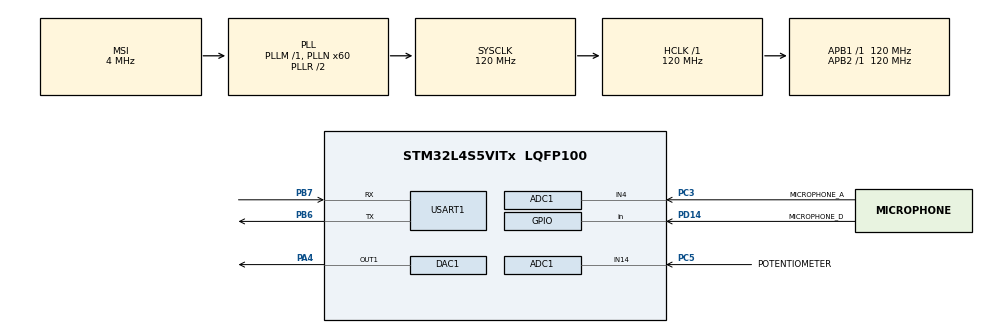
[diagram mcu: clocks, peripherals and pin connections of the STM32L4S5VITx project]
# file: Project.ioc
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ADC1.Channel-1\#ChannelRegularConversion=ADC_CHANNEL_4
ADC1.DMAContinuousRequests=ENABLE
ADC1.ExternalTrigConv=ADC_EXTERNALTRIG_T2_TRGO
ADC1.NbrOfConversionFlag=1
ADC1.OffsetNumber-1\#ChannelRegularConversion=ADC_OFFSET_NONE
ADC1.Rank-1\#ChannelRegularConversion=1
ADC1.SamplingTime-1\#ChannelRegularConversion=ADC_SAMPLETIME_2CYCLES_5
ADC1.master=1
DAC1.DAC_Trigger-DAC_OUT1=DAC_TRIGGER_T2_TRGO
Dma.ADC1.0.Direction=DMA_PERIPH_TO_MEMORY
Dma.ADC1.0.EventEnable=DISABLE
Dma.ADC1.0.Instance=DMA1_Channel1
Dma.ADC1.0.MemDataAlignment=DMA_MDATAALIGN_WORD
Dma.ADC1.0.MemInc=DMA_MINC_ENABLE
Dma.ADC1.0.Mode=DMA_CIRCULAR
Dma.ADC1.0.PeriphDataAlignment=DMA_PDATAALIGN_WORD
Dma.ADC1.0.PeriphInc=DMA_PINC_DISABLE
Dma.ADC1.0.Polarity=HAL_DMAMUX_REQUEST_GEN_RISING
Dma.ADC1.0.Priority=DMA_PRIORITY_LOW
Dma.ADC1.0.RequestNumber=1
Dma.ADC1.0.SignalID=NONE
Dma.ADC1.0.SyncEnable=DISABLE
Dma.ADC1.0.SyncPolarity=HAL_DMAMUX_SYNC_NO_EVENT
Dma.ADC1.0.SyncRequestNumber=1
Dma.ADC1.0.SyncSignalID=NONE
Dma.DAC1_CH1.1.Direction=DMA_MEMORY_TO_PERIPH
Dma.DAC1_CH1.1.EventEnable=DISABLE
Dma.DAC1_CH1.1.Instance=DMA1_Channel3
Dma.DAC1_CH1.1.MemDataAlignment=DMA_MDATAALIGN_WORD
Dma.DAC1_CH1.1.MemInc=DMA_MINC_ENABLE
Dma.DAC1_CH1.1.Mode=DMA_CIRCULAR
Dma.DAC1_CH1.1.PeriphDataAlignment=DMA_PDATAALIGN_WORD
Dma.DAC1_CH1.1.PeriphInc=DMA_PINC_DISABLE
Dma.DAC1_CH1.1.Polarity=HAL_DMAMUX_REQUEST_GEN_RISING
Dma.DAC1_CH1.1.Priority=DMA_PRIORITY_LOW
Dma.DAC1_CH1.1.RequestNumber=1
Dma.DAC1_CH1.1.SignalID=NONE
Dma.DAC1_CH1.1.SyncEnable=DISABLE
Dma.DAC1_CH1.1.SyncPolarity=HAL_DMAMUX_SYNC_NO_EVENT
Dma.DAC1_CH1.1.SyncRequestNumber=1
Dma.DAC1_CH1.1.SyncSignalID=NONE
Dma.Request0=ADC1
Dma.Request1=DAC1_CH1
FREERTOS.Mutexes01=microphonePermissions,Dynamic,NULL
FREERTOS.Tasks01=uart,0,300,startUART,Default,NULL,Dynamic,NULL,NULL;speaker,-3,4000,startSpeaker,Default,NULL,Dynamic,NULL,NULL;checkCycleCompl,-3,4000,checkCycleComplete,Default,NULL,Dynamic,NULL,NULL
FREERTOS.configTOTAL_HEAP_SIZE=100000
Mcu.Family=STM32L4
Mcu.Name=STM32L4S5VITx
Mcu.Package=LQFP100
NVIC.ADC1_IRQn=true\:5\:0\:false\:true\:true\:3\:true\:true\:true
NVIC.DMA1_Channel1_IRQn=true\:5\:0\:false\:true\:true\:2\:true\:false\:true
NVIC.DMA1_Channel3_IRQn=true\:5\:0\:false\:true\:true\:5\:true\:false\:true
NVIC.PriorityGroup=NVIC_PRIORITYGROUP_4
NVIC.TIM2_IRQn=true\:5\:0\:false\:true\:true\:4\:true\:true\:true
NVIC.TIM3_IRQn=true\:5\:0\:false\:true\:true\:6\:true\:true\:true
NVIC.TIM6_DAC_IRQn=true\:0\:0\:false\:false\:true\:false\:true\:true
NVIC.TimeBase=TIM6_DAC_IRQn
NVIC.TimeBaseIP=TIM6
PA13\ (JTMS/SWDIO).Signal=SYS_JTMS-SWDIO
PA4.Signal=COMP_DAC11_group
PB3\ (JTDO/TRACESWO).Signal=SYS_JTDO-SWO
PB6.Mode=Asynchronous
PB6.Signal=USART1_TX
PB7.Mode=Asynchronous
PB7.Signal=USART1_RX
PC3.GPIO_Label=MICROPHONE_A
PC3.Signal=SharedAnalog_PC3
PC5.GPIO_Label=POTENTIOMETER
PC5.GPIO_Mode=GPIO_MODE_ANALOG
PC5.Signal=SharedAnalog_PC5
PD14.GPIO_Label=MICROPHONE_D
PD14.Signal=GPIO_Input
ProjectManager.HeapSize=0x200
ProjectManager.StackSize=0x400
ProjectManager.TargetToolchain=STM32CubeIDE
RCC.ADCFreq_Value=48000000
RCC.AHBFreq_Value=120000000
RCC.APB1Freq_Value=120000000
RCC.APB1TimFreq_Value=120000000
RCC.APB2Freq_Value=120000000
RCC.APB2TimFreq_Value=120000000
RCC.CortexFreq_Value=120000000
RCC.HCLKFreq_Value=120000000
RCC.HSE_VALUE=8000000
RCC.HSI48_VALUE=48000000
RCC.HSI_VALUE=16000000
RCC.LSE_VALUE=32768
RCC.MSI_VALUE=4000000
RCC.PLLN=60
RCC.PLLSAI1N=24
RCC.SYSCLKFreq_VALUE=120000000
RCC.SYSCLKSource=RCC_SYSCLKSOURCE_PLLCLK
RCC.USBFreq_Value=48000000
RCC.VCOOutputFreq_Value=240000000
SH.COMP_DAC11_group.0=DAC1_OUT1,DAC_OUT1
SH.SharedAnalog_PC3.0=GPIO_Analog
SH.SharedAnalog_PC3.1=ADC1_IN4,IN4-Single-Ended
SH.SharedAnalog_PC5.0=GPIO_Analog
SH.SharedAnalog_PC5.1=ADC1_IN14,IN14-Single-Ended
TIM2.Period=15000
TIM2.TIM_MasterOutputTrigger=TIM_TRGO_UPDATE
TIM3.Period=10000
TIM3.Prescaler=6000
TIM3.TIM_MasterOutputTrigger=TIM_TRGO_UPDATE
USART1.VirtualMode-Asynchronous=VM_ASYNC
VP_FREERTOS_VS_CMSIS_V1.Mode=CMSIS_V1
VP_SYS_VS_tim6.Mode=TIM6
VP_TIM2_VS_ClockSourceINT.Mode=Internal
VP_TIM3_VS_ClockSourceINT.Mode=Internal
board=B-L4S5I-IOT01A

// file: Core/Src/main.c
/* USER CODE BEGIN Header */
/**
 ******************************************************************************
 * @file           : main.c
 * @brief          : Main program body
 ******************************************************************************
 * @attention
 *
 * <h2><center>&copy; Copyright (c) 2021 STMicroelectronics.
 * All rights reserved.</center></h2>
 *
 * This software component is licensed by ST under BSD 3-Clause license,
 * the "License"; You may not use this file except in compliance with the
 * License. You may obtain a copy of the License at:
 *                        opensource.org/licenses/BSD-3-Clause
 *
 ******************************************************************************
 */
/* USER CODE END Header */
#include "main.h"
#include "cmsis_os.h"

/* USER CODE BEGIN PD */
//########################################################################################################################
//Includes and Defines   #################################################################################################
//########################################################################################################################

#define ITM_Port32(n) (*((volatile unsigned long *) (0xE0000000+4*n)))
#define ARM_MATH_CM4
#define ARM_MATH_CM0
#define pi 3.14159265358979323846
#define ASCII_ESC 27 //For special UART characters

#include "arm_math.h"
#include "arm_const_structs.h"
#include "stdlib.h" //For random number generator

//########################################################################################################################
//########################################################################################################################
//########################################################################################################################
/* USER CODE END PD */

ADC_HandleTypeDef hadc1;
DMA_HandleTypeDef hdma_adc1;

DAC_HandleTypeDef hdac1;
DMA_HandleTypeDef hdma_dac1_ch1;

TIM_HandleTypeDef htim2;
TIM_HandleTypeDef htim3;

UART_HandleTypeDef huart1;

osThreadId uartHandle;
osThreadId speakerHandle;
osThreadId checkCycleComplHandle;
osMutexId microphonePermissionsHandle;
/* USER CODE BEGIN PV */
//########################################################################################################################
//Global Variables   #####################################################################################################
//########################################################################################################################

//For Microphone
#define micArraySize 4096
uint32_t micVal = 0;				//Used for viewing raw microphone readings through SWV Trace
uint32_t micArrayIn[micArraySize];	//Buffer that holds the microphone raw data
uint32_t micArrayOut[micArraySize];	//Used for storing the amplified signal of the microphone raw data (sending recording thru DAC Speaker)
uint16_t counter = 0;				//Counter for viewing the raw microphone data in a single variable (micVal) (debugging)
int calibrationVal = 0;				//Saves the DC Offset of the first few microphone readings in this value
int isFirstHalfCycleComplete = 0; 	//Flag for completion of the first half cycle of DMA microphone data recording
int isSecondHalfCycleComplete = 0;	//Flag for second half cycle

//For getFrequency function
int measuredFreq; //USELESS
#define samplingRate 8000					//Chosen sampling rate for the microphone signal - also affects the FFT calculation
#define fftSize 2048						//FFT works with sizes of 2^ -> we like 2048 as a good size -> measures one HALF of the micArrayIn at a time
float fft_in_buf[fftSize];					//FFT input buffer -> sound signal goes into here (do we need this, or could we just send our original through the function?)
float fft_out_buf[fftSize];					//FFT output buffer -> the FFT places its output into this buffer (real, imag)
arm_rfft_fast_instance_f32 fft_handler;		//For initializing the FFT

//For UART
char screen[259];							//Screen to display via UART -> whole thing gets transmitted
char title[70];								//Welcome screen -> will be embedded into screen array above when the time comes
char liveToneAndGoal[70];					//Game screen -> will be embedded into screen array above when the time comes
uint8_t receivedKey;						//Stores the keypress from UART "Press any key to continue..."
int potentialPoints = 0;					//Potential points per round -> gets decremented by Timer 3

#define MAX_SCORE 50
int success = 0; 							//This turns to 1 when the voice freq matches the goal freq
int goalToneFreq = 1000;					//Random goal tone -> starts with 1000
int voiceToneFreq;							//Our measure freq
int goalToneFreqUART;						//Changes the range of possible values for sending to the UART
int voiceToneFreqUART;						//Changes the range of possible values for sending to the UART
int score = 0;								//Keeps track of current score of the user

//For DAC and Speaker
int state = 0;								//State machine: 0 = playing sound out of speaker, 1 = listening to microphone for desired pitch, 3 = game over
uint32_t* tone0;							//The 6 tones in the game stored in memory
uint32_t* tone1;
uint32_t* tone2;
uint32_t* tone3;
uint32_t* tone4;
uint32_t* tone5;
uint32_t* goalWave;							//Points to the chosen tone

//########################################################################################################################
//########################################################################################################################
//########################################################################################################################
/* USER CODE END PV */

void SystemClock_Config(void);
static void MX_GPIO_Init(void);
static void MX_DMA_Init(void);
static void MX_ADC1_Init(void);
static void MX_TIM2_Init(void);
static void MX_DAC1_Init(void);
static void MX_TIM3_Init(void);
static void MX_USART1_UART_Init(void);
void startUART(void const * argument);
void startSpeaker(void const * argument);
void checkCycleComplete(void const * argument);

static void MX_NVIC_Init(void);

/* USER CODE BEGIN 0 */
//########################################################################################################################
//Microphone + Pitch Functions   ##########################################################################################
//########################################################################################################################

//Sets the ADC to read microphone
void setMicRead() {
	ADC_ChannelConfTypeDef sConfig = { 0 };
	sConfig.Channel = ADC_CHANNEL_4;
	sConfig.Rank = ADC_REGULAR_RANK_1;
	sConfig.SamplingTime = ADC_SAMPLETIME_2CYCLES_5;
	sConfig.SingleDiff = ADC_SINGLE_ENDED;
	sConfig.OffsetNumber = ADC_OFFSET_NONE;
	sConfig.Offset = 0;
	if (HAL_ADC_ConfigChannel(&hadc1, &sConfig) != HAL_OK) {
		Error_Handler();
	}
}

//Sets the ADC to read the potentiometer
void setPotentiometerRead() {
	ADC_ChannelConfTypeDef sConfig = { 0 };
	sConfig.Channel = ADC_CHANNEL_14;
	sConfig.Rank = ADC_REGULAR_RANK_1;
	sConfig.SamplingTime = ADC_SAMPLETIME_2CYCLES_5;
	sConfig.SingleDiff = ADC_SINGLE_ENDED;
	sConfig.OffsetNumber = ADC_OFFSET_NONE;
	sConfig.Offset = 0;
	if (HAL_ADC_ConfigChannel(&hadc1, &sConfig) != HAL_OK) {
		Error_Handler();
	}
}

//Calibrates the microphone -> measures the initial DC offset of the microphone readings
void readAvgMicrophoneInput() {
	for (int i = 0; i < 100; i++) {
		//Record the first 100 values read by microphone and take the avg
		calibrationVal = calibrationVal + micArrayIn[i];
	}
	calibrationVal = calibrationVal/100;
}

/*
Use this to calculate the frequencies AND return the highest frequency value.Frequencies will always be HALF the size of the the original FFT input anf FFT output buffers.This is because the arm_rfft_fast_f32() method stores 2 coefficients into the output buffer, namely the real and imaginary components of the result. These 2 values are ADJACENT to each other. Output[i] would correspond to the real value and Output[i+1] would correspond to the imaginary. From there, we simply find the magnitude. Notice that the for loop increments by 2 to accomodate for both real and imaginary components. Use noise to normalize frequency values.
*/
int getFrequencyOfTone(arm_rfft_fast_instance_f32* handler, int sampling_rate ,float* buffer_in, float* buffer_out) {

	arm_rfft_fast_f32(handler, buffer_in, buffer_out,0);

	int frequencies[1024];
	int frequency_index = 0;
	int noise = 150; //variable noise offset
	int max = 0;
	int temp_max = 0;
	int frequency = 0;
	//calculate abs values and linear-to-dB
	for (int i=0; i<2048; i=i+2) {

		int real = buffer_out[i];
		int complex = buffer_out[i+1];
		int result = sqrt(real*real+complex*complex);

		frequencies[frequency_index] = (int)(20*log10f(result));
		if (frequencies[frequency_index]<0) frequencies[frequency_index]=0;

		temp_max = frequencies[frequency_index];

		if(frequency_index > 0 && temp_max > max){
			max = temp_max;
			frequency = (int) frequency_index*sampling_rate/2048;
		}
		frequency_index++;
	}
	return frequency;
}

//Sine wave generation function -> returns a pointer to the array stored in mem
//Returns arrays completely ready for sending through DAC to speaker! -> Range is 0-4095
//soundClipSize is the total length of the soundClip that you want to generate (if you want to send to the getFrequency function, use a size of 2048)
//If you want to be able to use the variable soundClipSize, make the for-loop to from 0-soundClipSize, right now the soundClipSize is useless!
uint32_t* sineWaveGenerator(int freq, int soundClipSize) {

	//Sampling rate = 8k
	//Size of array = (sampling rate)/(freq)
	int arraySize = samplingRate/freq;
	uint16_t* sineWave = malloc(arraySize*sizeof(uint16_t));

	for (int i = 0; i < arraySize; i++) {
		sineWave[i] = (uint16_t)((arm_sin_f32(i*2*pi/arraySize) + 1)*(4095/2));
	}

	return sineWave;
}

//########################################################################################################################
//########################################################################################################################
//########################################################################################################################

//########################################################################################################################
//UART Functions   #######################################################################################################
//########################################################################################################################

//Clear screen function
void screenClear() {
	char buffer[5];

	sprintf(buffer, "%c[2J", ASCII_ESC);
	HAL_UART_Transmit(&huart1, &buffer, sizeof(buffer), HAL_MAX_DELAY);
}

//Make cursor invisible
void invisibleCursor() {
	char buffer[6];

	sprintf(buffer, "%c[?25l", ASCII_ESC);
	HAL_UART_Transmit(&huart1, &buffer, sizeof(buffer), HAL_MAX_DELAY);
}

//Print welcome screen
void printWelcomeScreen() {
	sprintf(title, "                         Welcome To Karaoke!                          "); //70 long
	sprintf(screen, "\r//////////////////////////////////////////////////////////////////////////\r\n//%s//\r\n//////////////////////////////////////////////////////////////////////////\r\n\n\nPress any key to continue...", title);
	HAL_UART_Transmit(&huart1, &screen, sizeof(screen), HAL_MAX_DELAY);
}

//Print the game screen
void printGame(int goalToneFreq, int voiceToneFreq, int score) {

	screenClear();

	sprintf(liveToneAndGoal, "                                                                      "); //70 long

	liveToneAndGoal[goalToneFreq] = 'I';
	liveToneAndGoal[voiceToneFreq] = 'I';

	if (score < 100) {
			sprintf(screen, "\r//////////////////////////////////////////////////////////////////////////\r\n//%s//\r\n//////////////////////////////////////////////////////////////////////////\r\n\n\n\t+---\tSCORE:\t%d\t---+        ", liveToneAndGoal, score);
		} else {
			sprintf(screen, "\r//////////////////////////////////////////////////////////////////////////\r\n//%s//\r\n//////////////////////////////////////////////////////////////////////////\r\n\n\n\t+---\tSCORE:\t%d\t---+       ", liveToneAndGoal, score);
		}

	HAL_UART_Transmit(&huart1, &screen, sizeof(screen), HAL_MAX_DELAY);
}

//Print the new desired tone
void printNewDesiredTone(int goalToneFreq, int score) {

	screenClear();

	sprintf(liveToneAndGoal, "                       New Desired Tone: %d Hz                      ", goalToneFreq); //70 long - > New Desired Tone: 1234 Hz

	if (score < 100) {
			sprintf(screen, "\r//////////////////////////////////////////////////////////////////////////\r\n//%s//\r\n//////////////////////////////////////////////////////////////////////////\r\n\n\n\t+---\tSCORE:\t%d\t---+        ", liveToneAndGoal, score);
		} else {
			sprintf(screen, "\r//////////////////////////////////////////////////////////////////////////\r\n//%s//\r\n//////////////////////////////////////////////////////////////////////////\r\n\n\n\t+---\tSCORE:\t%d\t---+       ", liveToneAndGoal, score);
		}

	HAL_UART_Transmit(&huart1, &screen, sizeof(screen), HAL_MAX_DELAY);
}

//Print Game Over Screen
void printGameOver(int score) {

	screenClear();

	sprintf(liveToneAndGoal, "                              YOU WIN!!!                              "); //70 long

	if (score < 100) {
			sprintf(screen, "\r//////////////////////////////////////////////////////////////////////////\r\n//%s//\r\n//////////////////////////////////////////////////////////////////////////\r\n\n\n\t+---\tSCORE:\tGAME OVER\t---+  ", liveToneAndGoal, score);
		} else {
			sprintf(screen, "\r//////////////////////////////////////////////////////////////////////////\r\n//%s//\r\n//////////////////////////////////////////////////////////////////////////\r\n\n\n\t+---\tSCORE:\tGAME OVER\t---+ ", liveToneAndGoal, score);
		}

	HAL_UART_Transmit(&huart1, &screen, sizeof(screen), HAL_MAX_DELAY);
}

//########################################################################################################################
//########################################################################################################################
//########################################################################################################################

//########################################################################################################################
//Callbacks   ############################################################################################################
//########################################################################################################################

////Timer 2 and 3 Callback
//void HAL_TIM_PeriodElapsedCallback(TIM_HandleTypeDef *htim) { -----> This callback was added to the automatically generated callback at bottom
//
//	/*
//	 * Viewing Microphone Raw Reading (Debugging)
//	 */
////	micVal = micArrayIn[counter];
////	++counter;
////	counter = counter%micArraySize;
//
//	/*
//	 * UART Points Decrementer -> uses Timer 3 since Timer 2 is being used as source trigger for ADC in DMA mode
//	 * Frequency is 2Hz -> we start at 10 potential points and decrement by 1 points every 0.5 seconds
//	 */
//	if (htim == &htim3) {
//		if (potentialPoints > 0 && state == 1) potentialPoints = potentialPoints - 1;
//	}
//
//}

//ADC Complete DMA Cycle Callback
//When the full cycle is complete, we want to do calculations on the SECOND half the buffer
void HAL_ADC_ConvCpltCallback(ADC_HandleTypeDef *hadc) {

	/*
	 * Amplification of raw microphone reading for sendin to DAC Speaker (Debugging)
	 */
//	for (int i = 0; i < 4000; ++i) {
//		micArrayOut[i] = (micArrayIn[i] - calibrationVal + 50) * 41; //41 = 4095/100
//	}

	/*
	 * Trigger the flag for the second half-cycle's completion
	 */
	 if (state == 1) isSecondHalfCycleComplete = 1;

}

//ADC Half DMA Cycle Callback
//When the half cycle is complete, we want to do calculations on the FIRST half of the buffer
void HAL_ADC_ConvHalfCpltCallback(ADC_HandleTypeDef *hadc) {

	/*
	 * Amplification for sending recording to DAC Speaker
	 */
//	for (int i = 4000; i < micArraySize; ++i) {
//		micArrayOut[i] = (micArrayIn[i] - calibrationVal + 50) * 41; //41 = 4095/100
//	}

	/*
	 * Trigger the flag for the first half-cycle's completion
	 */
	if (state == 1) isFirstHalfCycleComplete = 1;

}

void HAL_DAC_ConvCpltCallbackCh1(DAC_HandleTypeDef *hdac) {
	/*
	 * Checking the timing of how long it takes to output a complete buffer through the DAC Speaker (Debugging)
	 */
//	ITM_Port32(31) = 33;

}

//########################################################################################################################
//########################################################################################################################
//########################################################################################################################
/* USER CODE END 0 */

int main(void)
{

  /* MCU Configuration--------------------------------------------------------*/

  /* Reset of all peripherals, Initializes the Flash interface and the Systick. */
  HAL_Init();

  /* Configure the system clock */
  SystemClock_Config();

  /* Initialize all configured peripherals */
  MX_GPIO_Init();
  MX_DMA_Init();
  MX_ADC1_Init();
  MX_TIM2_Init();
  MX_DAC1_Init();
  MX_TIM3_Init();
  MX_USART1_UART_Init();

  /* Initialize interrupts */
  MX_NVIC_Init();
  /* USER CODE BEGIN 2 */
//########################################################################################################################
//Main Before Loop   #####################################################################################################
//########################################################################################################################

	/*
	 * Basic Initialization
	 */
	HAL_ADCEx_Calibration_Start(&hadc1, ADC_SINGLE_ENDED); 	//Calibrate ADC
	HAL_ADC_Start_DMA(&hadc1, micArrayIn, micArraySize); 	//Start ADC in DMA mode
	HAL_TIM_Base_Start_IT(&htim2); 							//Start timer 2 for ADC in DMA mode
	while(micArrayIn[micArraySize-1] == 0); 				//Delay abit so we can read some values through the mic
	readAvgMicrophoneInput(); 								//Read the DC offset of the mic
	//HAL_DAC_Start_DMA(&hdac1, DAC_CHANNEL_1, micArrayOut, micArraySize,DAC_ALIGN_12B_R); //Start the DAC speaker for playing back recording

	arm_rfft_fast_init_f32(&fft_handler, fftSize); 			//Initialize the FFT handler (only once) with size 2048!!

	/*
	 * Generating the 6 game tones and storing in memory
	 */
	tone0 = sineWaveGenerator(goalToneFreq, 1000); //The 1000 soundClipSize is useless
	tone1 = sineWaveGenerator(goalToneFreq, 1000);
	tone2 = sineWaveGenerator(goalToneFreq, 1000);
	tone3 = sineWaveGenerator(goalToneFreq, 1000);
	tone4 = sineWaveGenerator(goalToneFreq, 1000);
	tone5 = sineWaveGenerator(goalToneFreq, 1000);

	/*
	 * Game Welcome Screen
	 */
	invisibleCursor();											//Make it so we don't see cursor -> cursor is UGLY
	screenClear(); 												//Start with fresh screen
	printWelcomeScreen();										//Self explanatory - come on!
	HAL_UART_Receive(&huart1, &receivedKey, 1, HAL_MAX_DELAY);	//Wait for key press before starting game
	screenClear();												//Start the game with a fresh screen
	HAL_TIM_Base_Start_IT(&htim3);								//Start Timer 3 for time-based point decrementation -> less time = more points

//########################################################################################################################
//########################################################################################################################
//########################################################################################################################
  /* USER CODE END 2 */

  /* Create the mutex(es) */
  /* definition and creation of microphonePermissions */
  osMutexDef(microphonePermissions);
  microphonePermissionsHandle = osMutexCreate(osMutex(microphonePermissions));

  /* Create the thread(s) */
  /* definition and creation of uart */
  osThreadDef(uart, startUART, osPriorityNormal, 0, 300);
  uartHandle = osThreadCreate(osThread(uart), NULL);

  /* definition and creation of speaker */
  osThreadDef(speaker, startSpeaker, osPriorityIdle, 0, 4000);
  speakerHandle = osThreadCreate(osThread(speaker), NULL);

  /* definition and creation of checkCycleCompl */
  osThreadDef(checkCycleCompl, checkCycleComplete, osPriorityIdle, 0, 4000);
  checkCycleComplHandle = osThreadCreate(osThread(checkCycleCompl), NULL);

  /* Start scheduler */
  osKernelStart();

  /* We should never get here as control is now taken by the scheduler */
  /* Infinite loop */
  /* USER CODE BEGIN WHILE */
	while (1) {
//########################################################################################################################
//Main In Loop   #########################################################################################################
//########################################################################################################################

		//If the first half of the buffer is ready for calculation, send it through the getFreq's function
//		if (isFirstHalfCycleComplete) {
//
///*Assigns the input signal values to the FFT input buffer. Make sure to use a modulus operator to wrap back around to the begin of //the array so as to avoid HARD FAULTS. Once the input buffer is full, we can pass it to getfrequencies().
//*/
//			for (int i = 0; i < fftSize; i++){
//				fft_in_buf[i] = micArrayIn[i];
//			}
//
//			voiceToneFreq = getFrequencyOfTone(&fft_handler, samplingRate, fft_in_buf, fft_out_buf);
//			isFirstHalfCycleComplete = 0;
//
//		} else if (isSecondHalfCycleComplete) {
//
//			for (int i = fftSize; i < micArraySize; i++){
//				fft_in_buf[i-fftSize] = micArrayIn[i];
//			}
//
//			voiceToneFreq = getFrequencyOfTone(&fft_handler, samplingRate, fft_in_buf, fft_out_buf);
//			isSecondHalfCycleComplete = 0;
//
//		} else if (state == 0) { //This is the speaker playing state -> transmit the desired tone through the DAC Speaker
//
//			//Print that we are playing through the speaker
//			printNewDesiredTone(goalToneFreq, score);
//
//			//Make the sine wave for the particular frequency
//			uint32_t* goalWave = sineWaveGenerator(goalToneFreq, 1000); //The 1000 soundClipSize is useless
//			int size = samplingRate/goalToneFreq;
//
//			//Turn off microphone so we dont listen to the tone while its playing
//			HAL_ADC_Stop_DMA(&hadc1);
//
//			//Play the sound thru the speaker for awhile
//			HAL_DAC_Start_DMA(&hdac1, DAC_CHANNEL_1, goalWave, size, DAC_ALIGN_12B_R);
//			HAL_Delay(1000);
//			HAL_Delay(1000);
//			HAL_Delay(1000);
//			HAL_DAC_Stop_DMA(&hdac1, DAC_CHANNEL_1);
//
//			//Turn mic back on
//			HAL_ADC_Start_DMA(&hadc1, micArrayIn, micArraySize);
//
//			state = 1;
//		}
//
//
//		if (success) {
//			//This generates a random tone between 950-2500Hz
//			//Available frequencies (with 8K sampling rate: 1000Hz, 1143Hz, 1333Hz, 1600Hz, 2000Hz, 2666Hz
//			int goalToneChoice = rand()%6;
//			switch (goalToneChoice) {
//				case 0:
//					goalToneFreq = 1000;
//					break;
//				case 1:
//					goalToneFreq = 1142;
//					break;
//				case 2:
//					goalToneFreq = 1333;
//					break;
//				case 3:
//					goalToneFreq = 1600;
//					break;
//				case 4:
//					goalToneFreq = 2000;
//					break;
//				case 5:
//					goalToneFreq = 2666;
//					break;
//			}
//			//goalToneFreq = rand()%1550 + 950; //No longer just random freq between 950-2500
//			voiceToneFreq = 0;
//			score = score + potentialPoints;
//			potentialPoints = 10;
//			state = 0; //Print new tone on screen + play thru speaker
//			success = 0;
//		  }
//		goalToneFreqUART = (goalToneFreq - 970)/25; //Reason for this is explained below
//
//		//Change the range of the voiceToneFreq from actual frequency to 0-66
//		//Lets say we can whistle from 970-2700 -> # of possible values = 1730
//		//We need to map 1730 possible values to 70 possible UART positions
//		//Each UART position will represent 24.71 frequencies -> we could split this up into different sections maybe?
//		voiceToneFreqUART = (voiceToneFreq - 970)/25;
//		if (voiceToneFreqUART >= 70) voiceToneFreqUART = 69; //Must remain between 0-69 because UART game screen is only 70 characters long
//		if (voiceToneFreqUART < 0) voiceToneFreqUART = 0;
//
//
//		printGame(goalToneFreqUART, voiceToneFreqUART, score);
//		HAL_Delay(11); 										//The UART needs delay or else it acts fkn weird -> min delay = 11ms through trial and error
//
//		if (goalToneFreqUART == voiceToneFreqUART) success = 1;

//########################################################################################################################
//########################################################################################################################
//########################################################################################################################
    /* USER CODE END WHILE */

	}
}

void SystemClock_Config(void)
{
  RCC_OscInitTypeDef RCC_OscInitStruct = {0};
  RCC_ClkInitTypeDef RCC_ClkInitStruct = {0};
  RCC_PeriphCLKInitTypeDef PeriphClkInit = {0};

  /** Configure the main internal regulator output voltage
  */
  if (HAL_PWREx_ControlVoltageScaling(PWR_REGULATOR_VOLTAGE_SCALE1_BOOST) != HAL_OK)
  {
    Error_Handler();
  }
  /** Initializes the RCC Oscillators according to the specified parameters
  * in the RCC_OscInitTypeDef structure.
  */
  RCC_OscInitStruct.OscillatorType = RCC_OSCILLATORTYPE_MSI;
  RCC_OscInitStruct.MSIState = RCC_MSI_ON;
  RCC_OscInitStruct.MSICalibrationValue = 0;
  RCC_OscInitStruct.MSIClockRange = RCC_MSIRANGE_6;
  RCC_OscInitStruct.PLL.PLLState = RCC_PLL_ON;
  RCC_OscInitStruct.PLL.PLLSource = RCC_PLLSOURCE_MSI;
  RCC_OscInitStruct.PLL.PLLM = 1;
  RCC_OscInitStruct.PLL.PLLN = 60;
  RCC_OscInitStruct.PLL.PLLP = RCC_PLLP_DIV2;
  RCC_OscInitStruct.PLL.PLLQ = RCC_PLLQ_DIV2;
  RCC_OscInitStruct.PLL.PLLR = RCC_PLLR_DIV2;
  if (HAL_RCC_OscConfig(&RCC_OscInitStruct) != HAL_OK)
  {
    Error_Handler();
  }
  /** Initializes the CPU, AHB and APB buses clocks
  */
  RCC_ClkInitStruct.ClockType = RCC_CLOCKTYPE_HCLK|RCC_CLOCKTYPE_SYSCLK
                              |RCC_CLOCKTYPE_PCLK1|RCC_CLOCKTYPE_PCLK2;
  RCC_ClkInitStruct.SYSCLKSource = RCC_SYSCLKSOURCE_PLLCLK;
  RCC_ClkInitStruct.AHBCLKDivider = RCC_SYSCLK_DIV1;
  RCC_ClkInitStruct.APB1CLKDivider = RCC_HCLK_DIV1;
  RCC_ClkInitStruct.APB2CLKDivider = RCC_HCLK_DIV1;

  if (HAL_RCC_ClockConfig(&RCC_ClkInitStruct, FLASH_LATENCY_5) != HAL_OK)
  {
    Error_Handler();
  }
  PeriphClkInit.PeriphClockSelection = RCC_PERIPHCLK_USART1|RCC_PERIPHCLK_ADC;
  PeriphClkInit.Usart1ClockSelection = RCC_USART1CLKSOURCE_PCLK2;
  PeriphClkInit.AdcClockSelection = RCC_ADCCLKSOURCE_PLLSAI1;
  PeriphClkInit.PLLSAI1.PLLSAI1Source = RCC_PLLSOURCE_MSI;
  PeriphClkInit.PLLSAI1.PLLSAI1M = 1;
  PeriphClkInit.PLLSAI1.PLLSAI1N = 24;
  PeriphClkInit.PLLSAI1.PLLSAI1P = RCC_PLLP_DIV2;
  PeriphClkInit.PLLSAI1.PLLSAI1Q = RCC_PLLQ_DIV2;
  PeriphClkInit.PLLSAI1.PLLSAI1R = RCC_PLLR_DIV2;
  PeriphClkInit.PLLSAI1.PLLSAI1ClockOut = RCC_PLLSAI1_ADC1CLK;
  if (HAL_RCCEx_PeriphCLKConfig(&PeriphClkInit) != HAL_OK)
  {
    Error_Handler();
  }
}

/**
  * @brief NVIC Configuration.
  * @retval None
  */
static void MX_NVIC_Init(void)
{
  /* DMA1_Channel1_IRQn interrupt configuration */
  HAL_NVIC_SetPriority(DMA1_Channel1_IRQn, 5, 0);
  HAL_NVIC_EnableIRQ(DMA1_Channel1_IRQn);
  /* ADC1_IRQn interrupt configuration */
  HAL_NVIC_SetPriority(ADC1_IRQn, 5, 0);
  HAL_NVIC_EnableIRQ(ADC1_IRQn);
  /* TIM2_IRQn interrupt configuration */
  HAL_NVIC_SetPriority(TIM2_IRQn, 5, 0);
  HAL_NVIC_EnableIRQ(TIM2_IRQn);
  /* DMA1_Channel3_IRQn interrupt configuration */
  HAL_NVIC_SetPriority(DMA1_Channel3_IRQn, 5, 0);
  HAL_NVIC_EnableIRQ(DMA1_Channel3_IRQn);
  /* TIM3_IRQn interrupt configuration */
  HAL_NVIC_SetPriority(TIM3_IRQn, 5, 0);
  HAL_NVIC_EnableIRQ(TIM3_IRQn);
}

static void MX_ADC1_Init(void)
{

  ADC_ChannelConfTypeDef sConfig = {0};

  /** Common config
  */
  hadc1.Instance = ADC1;
  hadc1.Init.ClockPrescaler = ADC_CLOCK_ASYNC_DIV1;
  hadc1.Init.Resolution = ADC_RESOLUTION_12B;
  hadc1.Init.DataAlign = ADC_DATAALIGN_RIGHT;
  hadc1.Init.ScanConvMode = ADC_SCAN_DISABLE;
  hadc1.Init.EOCSelection = ADC_EOC_SINGLE_CONV;
  hadc1.Init.LowPowerAutoWait = DISABLE;
  hadc1.Init.ContinuousConvMode = DISABLE;
  hadc1.Init.NbrOfConversion = 1;
  hadc1.Init.DiscontinuousConvMode = DISABLE;
  hadc1.Init.ExternalTrigConv = ADC_EXTERNALTRIG_T2_TRGO;
  hadc1.Init.ExternalTrigConvEdge = ADC_EXTERNALTRIGCONVEDGE_RISING;
  hadc1.Init.DMAContinuousRequests = ENABLE;
  hadc1.Init.Overrun = ADC_OVR_DATA_PRESERVED;
  hadc1.Init.OversamplingMode = DISABLE;
  if (HAL_ADC_Init(&hadc1) != HAL_OK)
  {
    Error_Handler();
  }
  /** Configure Regular Channel
  */
  sConfig.Channel = ADC_CHANNEL_4;
  sConfig.Rank = ADC_REGULAR_RANK_1;
  sConfig.SamplingTime = ADC_SAMPLETIME_2CYCLES_5;
  sConfig.SingleDiff = ADC_SINGLE_ENDED;
  sConfig.OffsetNumber = ADC_OFFSET_NONE;
  sConfig.Offset = 0;
  if (HAL_ADC_ConfigChannel(&hadc1, &sConfig) != HAL_OK)
  {
    Error_Handler();
  }

}

static void MX_DAC1_Init(void)
{

  DAC_ChannelConfTypeDef sConfig = {0};

  /** DAC Initialization
  */
  hdac1.Instance = DAC1;
  if (HAL_DAC_Init(&hdac1) != HAL_OK)
  {
    Error_Handler();
  }
  /** DAC channel OUT1 config
  */
  sConfig.DAC_SampleAndHold = DAC_SAMPLEANDHOLD_DISABLE;
  sConfig.DAC_Trigger = DAC_TRIGGER_T2_TRGO;
  sConfig.DAC_HighFrequency = DAC_HIGH_FREQUENCY_INTERFACE_MODE_DISABLE;
  sConfig.DAC_OutputBuffer = DAC_OUTPUTBUFFER_ENABLE;
  sConfig.DAC_ConnectOnChipPeripheral = DAC_CHIPCONNECT_DISABLE;
  sConfig.DAC_UserTrimming = DAC_TRIMMING_FACTORY;
  if (HAL_DAC_ConfigChannel(&hdac1, &sConfig, DAC_CHANNEL_1) != HAL_OK)
  {
    Error_Handler();
  }

}

static void MX_TIM2_Init(void)
{

  TIM_ClockConfigTypeDef sClockSourceConfig = {0};
  TIM_MasterConfigTypeDef sMasterConfig = {0};

  htim2.Instance = TIM2;
  htim2.Init.Prescaler = 0;
  htim2.Init.CounterMode = TIM_COUNTERMODE_UP;
  htim2.Init.Period = 15000;
  htim2.Init.ClockDivision = TIM_CLOCKDIVISION_DIV1;
  htim2.Init.AutoReloadPreload = TIM_AUTORELOAD_PRELOAD_DISABLE;
  if (HAL_TIM_Base_Init(&htim2) != HAL_OK)
  {
    Error_Handler();
  }
  sClockSourceConfig.ClockSource = TIM_CLOCKSOURCE_INTERNAL;
  if (HAL_TIM_ConfigClockSource(&htim2, &sClockSourceConfig) != HAL_OK)
  {
    Error_Handler();
  }
  sMasterConfig.MasterOutputTrigger = TIM_TRGO_UPDATE;
  sMasterConfig.MasterSlaveMode = TIM_MASTERSLAVEMODE_DISABLE;
  if (HAL_TIMEx_MasterConfigSynchronization(&htim2, &sMasterConfig) != HAL_OK)
  {
    Error_Handler();
  }

}

static void MX_TIM3_Init(void)
{

  TIM_ClockConfigTypeDef sClockSourceConfig = {0};
  TIM_MasterConfigTypeDef sMasterConfig = {0};

  htim3.Instance = TIM3;
  htim3.Init.Prescaler = 6000;
  htim3.Init.CounterMode = TIM_COUNTERMODE_UP;
  htim3.Init.Period = 10000;
  htim3.Init.ClockDivision = TIM_CLOCKDIVISION_DIV1;
  htim3.Init.AutoReloadPreload = TIM_AUTORELOAD_PRELOAD_DISABLE;
  if (HAL_TIM_Base_Init(&htim3) != HAL_OK)
  {
    Error_Handler();
  }
  sClockSourceConfig.ClockSource = TIM_CLOCKSOURCE_INTERNAL;
  if (HAL_TIM_ConfigClockSource(&htim3, &sClockSourceConfig) != HAL_OK)
  {
    Error_Handler();
  }
  sMasterConfig.MasterOutputTrigger = TIM_TRGO_UPDATE;
  sMasterConfig.MasterSlaveMode = TIM_MASTERSLAVEMODE_DISABLE;
  if (HAL_TIMEx_MasterConfigSynchronization(&htim3, &sMasterConfig) != HAL_OK)
  {
    Error_Handler();
  }

}

static void MX_USART1_UART_Init(void)
{

  huart1.Instance = USART1;
  huart1.Init.BaudRate = 115200;
  huart1.Init.WordLength = UART_WORDLENGTH_8B;
  huart1.Init.StopBits = UART_STOPBITS_1;
  huart1.Init.Parity = UART_PARITY_NONE;
  huart1.Init.Mode = UART_MODE_TX_RX;
  huart1.Init.HwFlowCtl = UART_HWCONTROL_NONE;
  huart1.Init.OverSampling = UART_OVERSAMPLING_16;
  huart1.Init.OneBitSampling = UART_ONE_BIT_SAMPLE_DISABLE;
  huart1.Init.ClockPrescaler = UART_PRESCALER_DIV1;
  huart1.AdvancedInit.AdvFeatureInit = UART_ADVFEATURE_NO_INIT;
  if (HAL_UART_Init(&huart1) != HAL_OK)
  {
    Error_Handler();
  }
  if (HAL_UARTEx_SetTxFifoThreshold(&huart1, UART_TXFIFO_THRESHOLD_1_8) != HAL_OK)
  {
    Error_Handler();
  }
  if (HAL_UARTEx_SetRxFifoThreshold(&huart1, UART_RXFIFO_THRESHOLD_1_8) != HAL_OK)
  {
    Error_Handler();
  }
  if (HAL_UARTEx_DisableFifoMode(&huart1) != HAL_OK)
  {
    Error_Handler();
  }

}

static void MX_DMA_Init(void)
{

  /* DMA controller clock enable */
  __HAL_RCC_DMAMUX1_CLK_ENABLE();
  __HAL_RCC_DMA1_CLK_ENABLE();

}

static void MX_GPIO_Init(void)
{
  GPIO_InitTypeDef GPIO_InitStruct = {0};

  /* GPIO Ports Clock Enable */
  __HAL_RCC_GPIOC_CLK_ENABLE();
  __HAL_RCC_GPIOA_CLK_ENABLE();
  __HAL_RCC_GPIOD_CLK_ENABLE();
  __HAL_RCC_GPIOB_CLK_ENABLE();

  /*Configure GPIO pin : MICROPHONE_D_Pin */
  GPIO_InitStruct.Pin = MICROPHONE_D_Pin;
  GPIO_InitStruct.Mode = GPIO_MODE_INPUT;
  GPIO_InitStruct.Pull = GPIO_NOPULL;
  HAL_GPIO_Init(MICROPHONE_D_GPIO_Port, &GPIO_InitStruct);

}

void startUART(void const * argument)
{
  /* USER CODE BEGIN 5 */
//########################################################################################################################
//Dedicated Task for UART  ###############################################################################################
//########################################################################################################################

  /* Infinite loop */
  for(;;)
  {
    osDelay(1);
    while(1){

		if (success) {
			//This generates a random tone between 950-2500Hz
			//Available frequencies (with 8K sampling rate: 1000Hz, 1143Hz, 1333Hz, 1600Hz, 2000Hz, 2666Hz
			int goalToneChoice = rand()%6;
			switch (goalToneChoice) {
				case 0:
					goalToneFreq = 1000;
					goalWave = tone0;
					break;
				case 1:
					goalToneFreq = 1142;
					goalWave = tone1;
					break;
				case 2:
					goalToneFreq = 1333;
					goalWave = tone2;
					break;
				case 3:
					goalToneFreq = 1600;
					goalWave = tone3;
					break;
				case 4:
					goalToneFreq = 2000;
					goalWave = tone4;
					break;
				case 5:
					goalToneFreq = 2666;
					goalWave = tone5;
					break;
			}
			//goalToneFreq = rand()%1550 + 950; //No longer just random freq between 950-2500
			voiceToneFreq = 0;
			score = score + potentialPoints;
			potentialPoints = 10;
			state = 0; //Print new tone on screen + play thru speaker
			success = 0;
			if (score > MAX_SCORE) state = 2; //End the game when score is reached
		  }
		goalToneFreqUART = (goalToneFreq - 970)/25; //Reason for this is explained below

		//Change the range of the voiceToneFreq from actual frequency to 0-66
		//Lets say we can whistle from 970-2700 -> # of possible values = 1730
		//We need to map 1730 possible values to 70 possible UART positions
		//Each UART position will represent 24.71 frequencies -> we could split this up into different sections maybe?
		voiceToneFreqUART = (voiceToneFreq - 970)/25;
		if (voiceToneFreqUART >= 70) voiceToneFreqUART = 69; //Must remain between 0-69 because UART game screen is only 70 characters long
		if (voiceToneFreqUART < 0) voiceToneFreqUART = 0;

		//Based on state (speaker or microphone use) print one screen or the other
		if (state == 0) {
			//Print that we are playing through the speaker when playing through the speaker
			printNewDesiredTone(goalToneFreq, score);
		} else if (state == 1) {
			printGame(goalToneFreqUART, voiceToneFreqUART, score);
		} else {
			printGameOver(score);
		}

		osDelay(11); 										//The UART needs delay or else it acts fkn weird -> min delay = 11ms through trial and error
		//osMutexRelease(printingPermissionsHandle);
		if (goalToneFreqUART == voiceToneFreqUART) success = 1;

    }
  }

//########################################################################################################################
//########################################################################################################################
//########################################################################################################################
  /* USER CODE END 5 */
}

void startSpeaker(void const * argument)
{
  /* USER CODE BEGIN startSpeaker */
//########################################################################################################################
//Dedicated Task for Speaker Output  #####################################################################################
//########################################################################################################################

  /* Infinite loop */
  for(;;)
  {
    osDelay(1);
    while(1){
    	osMutexWait(microphonePermissionsHandle, osWaitForever);
    	if (state == 0) { //This is the speaker playing state -> transmit the desired tone through the DAC Speaker

    	    			//Make the sine wave for the particular frequency

    	    			int size = samplingRate/goalToneFreq;

    	    			//Turn off microphone so we dont listen to the tone while its playing
    	    			HAL_ADC_Stop_DMA(&hadc1);

    	    			//Play the sound thru the speaker for awhile
    	    			HAL_DAC_Start_DMA(&hdac1, DAC_CHANNEL_1, goalWave, size, DAC_ALIGN_12B_R);
    	    			osDelay(1000);
    	    			osDelay(1000);
    	    			osDelay(1000);
    	    			//osMutexRelease(printingPermissionsHandle);
    	    			HAL_DAC_Stop_DMA(&hdac1, DAC_CHANNEL_1);

    	    			//Turn mic back on
    	    			HAL_ADC_Start_DMA(&hadc1, micArrayIn, micArraySize);

    	    			state = 1;
    	    		}
    	osMutexRelease(microphonePermissionsHandle);
    }
  }

//########################################################################################################################
//########################################################################################################################
//########################################################################################################################
  /* USER CODE END startSpeaker */
}

void checkCycleComplete(void const * argument)
{
  /* USER CODE BEGIN checkCycleComplete */
//########################################################################################################################
//Dedicated Task for Signal Processing  ##################################################################################
//########################################################################################################################

  /* Infinite loop */
  for(;;)
  {
    osDelay(1);
    //If the first half of the buffer is ready for calculation, send it through the getFreq's function
    while(1){
    	osMutexWait(microphonePermissionsHandle, osWaitForever);
    	if (isFirstHalfCycleComplete) {

/*Assigns the input signal values to the FFT input buffer. Make sure to use a modulus operator to wrap back around to the begin of the array so as to avoid HARD FAULTS. Once the input buffer is full, we can pass it to getfrequencies().
*/
    	    			for (int i = 0; i < fftSize; i++){
    	    				fft_in_buf[i] = micArrayIn[i];
    	    			}

    	    			voiceToneFreq = getFrequencyOfTone(&fft_handler, samplingRate, fft_in_buf, fft_out_buf);
    	    			isFirstHalfCycleComplete = 0;

    	    		} else if (isSecondHalfCycleComplete) {

    	    			for (int i = fftSize; i < micArraySize; i++){
    	    				fft_in_buf[i-fftSize] = micArrayIn[i];
    	    			}

    	    			voiceToneFreq = getFrequencyOfTone(&fft_handler, samplingRate, fft_in_buf, fft_out_buf);
    	    			isSecondHalfCycleComplete = 0;

    	    		}
    	osMutexRelease(microphonePermissionsHandle);
    }

  }

//########################################################################################################################
//########################################################################################################################
//########################################################################################################################
  /* USER CODE END checkCycleComplete */
}

 /**
  * @brief  Period elapsed callback in non blocking mode
  * @note   This function is called  when TIM6 interrupt took place, inside
  * HAL_TIM_IRQHandler(). It makes a direct call to HAL_IncTick() to increment
  * a global variable "uwTick" used as application time base.
  * @param  htim : TIM handle
  * @retval None
  */
void HAL_TIM_PeriodElapsedCallback(TIM_HandleTypeDef *htim)
{
  if (htim->Instance == TIM6) {
    HAL_IncTick();
  }
  /* USER CODE BEGIN Callback 1 */
	/*
	 * Viewing Microphone Raw Reading (Debugging)
	 */
//	micVal = micArrayIn[counter];
//	++counter;
//	counter = counter%micArraySize;

	/*
	 * UART Points Decrementer -> uses Timer 3 since Timer 2 is being used as source trigger for ADC in DMA mode
	 * Frequency is 2Hz -> we start at 10 potential points and decrement by 1 points every 0.5 seconds
	 */
	if (htim == &htim3) {
		if (potentialPoints > 0 && state == 1) potentialPoints = potentialPoints - 1;
	}
  /* USER CODE END Callback 1 */
}

void Error_Handler(void)
{
	__disable_irq();
	while (1) {
	}
}

/************************ (C) COPYRIGHT STMicroelectronics *****END OF FILE****/
